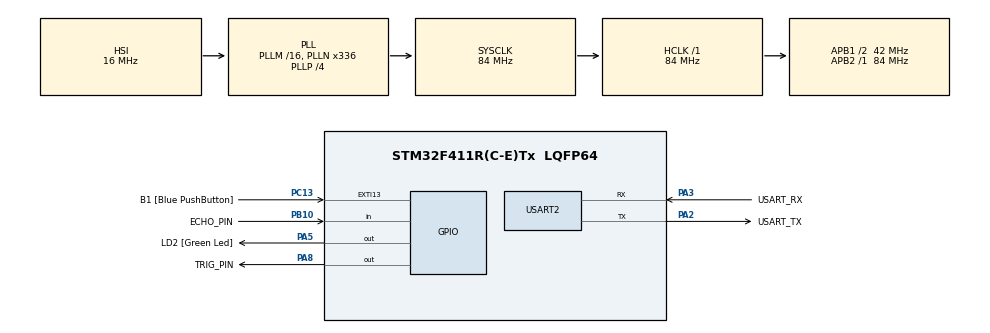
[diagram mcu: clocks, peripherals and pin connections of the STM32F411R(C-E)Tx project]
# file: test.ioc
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Mcu.Family=STM32F4
Mcu.Name=STM32F411R(C-E)Tx
Mcu.Package=LQFP64
NVIC.PriorityGroup=NVIC_PRIORITYGROUP_0
PA13.GPIO_Label=TMS
PA13.Mode=Serial_Wire
PA13.Signal=SYS_JTMS-SWDIO
PA14.GPIO_Label=TCK
PA14.Mode=Serial_Wire
PA14.Signal=SYS_JTCK-SWCLK
PA2.GPIO_Label=USART_TX
PA2.Mode=Asynchronous
PA2.Signal=USART2_TX
PA3.GPIO_Label=USART_RX
PA3.Mode=Asynchronous
PA3.Signal=USART2_RX
PA5.GPIO_Label=LD2 [Green Led]
PA5.Signal=GPIO_Output
PA8.GPIO_Label=TRIG_PIN
PA8.Signal=GPIO_Output
PB10.GPIO_Label=ECHO_PIN
PB10.Signal=GPIO_Input
PB3.GPIO_Label=SWO
PB3.Signal=SYS_JTDO-SWO
PC13-ANTI_TAMP.GPIO_Label=B1 [Blue PushButton]
PC13-ANTI_TAMP.GPIO_ModeDefaultEXTI=GPIO_MODE_IT_FALLING
PC13-ANTI_TAMP.Signal=GPXTI13
PC14-OSC32_IN.Mode=LSE-External-Oscillator
PC14-OSC32_IN.Signal=RCC_OSC32_IN
PC15-OSC32_OUT.Mode=LSE-External-Oscillator
PC15-OSC32_OUT.Signal=RCC_OSC32_OUT
PH0\ -\ OSC_IN.Mode=HSE-External-Clock-Source
PH0\ -\ OSC_IN.Signal=RCC_OSC_IN
PH1\ -\ OSC_OUT.Mode=HSE-External-Clock-Source
PH1\ -\ OSC_OUT.Signal=RCC_OSC_OUT
ProjectManager.HeapSize=0x200
ProjectManager.StackSize=0x400
ProjectManager.TargetToolchain=STM32CubeIDE
RCC.48MHZClocksFreq_Value=84000000
RCC.AHBFreq_Value=84000000
RCC.APB1CLKDivider=RCC_HCLK_DIV2
RCC.APB1Freq_Value=42000000
RCC.APB1TimFreq_Value=84000000
RCC.APB2Freq_Value=84000000
RCC.APB2TimFreq_Value=84000000
RCC.CortexFreq_Value=84000000
RCC.FLatency-AdvancedSettings=FLASH_LATENCY_2
RCC.HCLKFreq_Value=84000000
RCC.HSE_VALUE=8000000
RCC.HSI_VALUE=16000000
RCC.PLLN=336
RCC.PLLP=RCC_PLLP_DIV4
RCC.SYSCLKFreq_VALUE=84000000
RCC.SYSCLKSource=RCC_SYSCLKSOURCE_PLLCLK
RCC.VCOOutputFreq_Value=336000000
TIM2.AutoReloadPreload=TIM_AUTORELOAD_PRELOAD_ENABLE
TIM2.Prescaler=83
USART2.VirtualMode=VM_ASYNC
VP_TIM2_VS_ClockSourceINT.Mode=Internal
board=NUCLEO-F411RE

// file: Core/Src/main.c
/* USER CODE BEGIN Header */
/**
  ******************************************************************************
  * @file           : main.c
  * @brief          : Main program body
  ******************************************************************************
  * @attention
  *
  * Copyright (c) 2025 STMicroelectronics.
  * All rights reserved.
  *
  * This software is licensed under terms that can be found in the LICENSE file
  * in the root directory of this software component.
  * If no LICENSE file comes with this software, it is provided AS-IS.
  *
  ******************************************************************************
  */
/* USER CODE END Header */
#include "main.h"

TIM_HandleTypeDef htim2;

UART_HandleTypeDef huart2;

/* USER CODE BEGIN PV */
uint32_t inputCaptureVal1 = 0;
uint32_t inputCaptureVal2 = 0;
uint32_t difference = 0;
uint8_t isFirstCaptured = 0;  // 0 = capturing first edge, 1 = capturing second
uint32_t distance = 0;

char msg[64]; // <--- Add this line (Buffer for UART message)
/* USER CODE END PV */

void SystemClock_Config(void);
static void MX_GPIO_Init(void);
static void MX_USART2_UART_Init(void);
static void MX_TIM2_Init(void);

/* USER CODE BEGIN 0 */
void delay_us (uint16_t us)
{
	__HAL_TIM_SET_COUNTER(&htim2,0);  // Reset the counter to 0
	while (__HAL_TIM_GET_COUNTER(&htim2) < us);  // Wait until counter reaches the requested delay
}
/* USER CODE END 0 */

int main(void)
{

  /* MCU Configuration--------------------------------------------------------*/

  /* Reset of all peripherals, Initializes the Flash interface and the Systick. */
  HAL_Init();

  /* Configure the system clock */
  SystemClock_Config();

  /* Initialize all configured peripherals */
  MX_GPIO_Init();
  MX_USART2_UART_Init();
  MX_TIM2_Init();
  /* USER CODE BEGIN 2 */
  HAL_TIM_Base_Start(&htim2); // Start our microsecond ruler
  /* USER CODE END 2 */

  /* Infinite loop */
  while (1)
  {

    /* USER CODE BEGIN 3 */

	      // 1. Reset TRIG pin low to ensure clean start
	      HAL_GPIO_WritePin(TRIG_PIN_GPIO_Port, TRIG_PIN_Pin, GPIO_PIN_RESET);
	      delay_us(3);

	      // 2. Send the Pulse (10us High)
	      HAL_GPIO_WritePin(TRIG_PIN_GPIO_Port, TRIG_PIN_Pin, GPIO_PIN_SET);
	      delay_us(10);
	      HAL_GPIO_WritePin(TRIG_PIN_GPIO_Port, TRIG_PIN_Pin, GPIO_PIN_RESET);

	      // 3. Wait for the ECHO pin to go HIGH (Start of response)
	      // Note: In a real product, add a timeout here so code doesn't hang if sensor is broken
	      while (HAL_GPIO_ReadPin(ECHO_PIN_GPIO_Port, ECHO_PIN_Pin) == GPIO_PIN_RESET);

	      // 4. Measure the time!
	      // We set counter to 0 at the moment ECHO goes HIGH
	      __HAL_TIM_SET_COUNTER(&htim2, 0);

	      // 5. Wait for the ECHO pin to go LOW (End of response)
	      while (HAL_GPIO_ReadPin(ECHO_PIN_GPIO_Port, ECHO_PIN_Pin) == GPIO_PIN_SET);

	      // 6. Get the time passed
	      difference = __HAL_TIM_GET_COUNTER(&htim2);

	      // 7. Calculate Distance
	      // Speed of sound is 343 m/s or 0.0343 cm/us.
	      // Distance = (Time * Speed) / 2 (because sound goes there and back)
	      distance = (difference * 0.0343) / 2;

	      // Format the string. %lu is for unsigned long (uint32_t)
		  // \r\n moves the cursor to the start of the next line
		  sprintf(msg, "Distance: %lu cm\r\n", distance);

		  // Send via UART2
		  // &huart2 : The UART handler
		  // (uint8_t*)msg : The data to send
		  // strlen(msg) : The length of the data
		  // 100 : Timeout in milliseconds
		  HAL_UART_Transmit(&huart2, (uint8_t*)msg, strlen(msg), 100);

		  // --- NEW CODE ENDS HERE ---

		  HAL_Delay(500); // Increased delay to 500ms so the screen isn't flooded too fast
		}
  /* USER CODE END 3 */
}

void SystemClock_Config(void)
{
  RCC_OscInitTypeDef RCC_OscInitStruct = {0};
  RCC_ClkInitTypeDef RCC_ClkInitStruct = {0};

  /** Configure the main internal regulator output voltage
  */
  __HAL_RCC_PWR_CLK_ENABLE();
  __HAL_PWR_VOLTAGESCALING_CONFIG(PWR_REGULATOR_VOLTAGE_SCALE1);

  /** Initializes the RCC Oscillators according to the specified parameters
  * in the RCC_OscInitTypeDef structure.
  */
  RCC_OscInitStruct.OscillatorType = RCC_OSCILLATORTYPE_HSI;
  RCC_OscInitStruct.HSIState = RCC_HSI_ON;
  RCC_OscInitStruct.HSICalibrationValue = RCC_HSICALIBRATION_DEFAULT;
  RCC_OscInitStruct.PLL.PLLState = RCC_PLL_ON;
  RCC_OscInitStruct.PLL.PLLSource = RCC_PLLSOURCE_HSI;
  RCC_OscInitStruct.PLL.PLLM = 16;
  RCC_OscInitStruct.PLL.PLLN = 336;
  RCC_OscInitStruct.PLL.PLLP = RCC_PLLP_DIV4;
  RCC_OscInitStruct.PLL.PLLQ = 4;
  if (HAL_RCC_OscConfig(&RCC_OscInitStruct) != HAL_OK)
  {
    Error_Handler();
  }

  /** Initializes the CPU, AHB and APB buses clocks
  */
  RCC_ClkInitStruct.ClockType = RCC_CLOCKTYPE_HCLK|RCC_CLOCKTYPE_SYSCLK
                              |RCC_CLOCKTYPE_PCLK1|RCC_CLOCKTYPE_PCLK2;
  RCC_ClkInitStruct.SYSCLKSource = RCC_SYSCLKSOURCE_PLLCLK;
  RCC_ClkInitStruct.AHBCLKDivider = RCC_SYSCLK_DIV1;
  RCC_ClkInitStruct.APB1CLKDivider = RCC_HCLK_DIV2;
  RCC_ClkInitStruct.APB2CLKDivider = RCC_HCLK_DIV1;

  if (HAL_RCC_ClockConfig(&RCC_ClkInitStruct, FLASH_LATENCY_2) != HAL_OK)
  {
    Error_Handler();
  }
}

static void MX_TIM2_Init(void)
{

  TIM_ClockConfigTypeDef sClockSourceConfig = {0};
  TIM_MasterConfigTypeDef sMasterConfig = {0};

  htim2.Instance = TIM2;
  htim2.Init.Prescaler = 83;
  htim2.Init.CounterMode = TIM_COUNTERMODE_UP;
  htim2.Init.Period = 4294967295;
  htim2.Init.ClockDivision = TIM_CLOCKDIVISION_DIV1;
  htim2.Init.AutoReloadPreload = TIM_AUTORELOAD_PRELOAD_ENABLE;
  if (HAL_TIM_Base_Init(&htim2) != HAL_OK)
  {
    Error_Handler();
  }
  sClockSourceConfig.ClockSource = TIM_CLOCKSOURCE_INTERNAL;
  if (HAL_TIM_ConfigClockSource(&htim2, &sClockSourceConfig) != HAL_OK)
  {
    Error_Handler();
  }
  sMasterConfig.MasterOutputTrigger = TIM_TRGO_RESET;
  sMasterConfig.MasterSlaveMode = TIM_MASTERSLAVEMODE_DISABLE;
  if (HAL_TIMEx_MasterConfigSynchronization(&htim2, &sMasterConfig) != HAL_OK)
  {
    Error_Handler();
  }

}

static void MX_USART2_UART_Init(void)
{

  huart2.Instance = USART2;
  huart2.Init.BaudRate = 115200;
  huart2.Init.WordLength = UART_WORDLENGTH_8B;
  huart2.Init.StopBits = UART_STOPBITS_1;
  huart2.Init.Parity = UART_PARITY_NONE;
  huart2.Init.Mode = UART_MODE_TX_RX;
  huart2.Init.HwFlowCtl = UART_HWCONTROL_NONE;
  huart2.Init.OverSampling = UART_OVERSAMPLING_16;
  if (HAL_UART_Init(&huart2) != HAL_OK)
  {
    Error_Handler();
  }

}

static void MX_GPIO_Init(void)
{
  GPIO_InitTypeDef GPIO_InitStruct = {0};

  /* GPIO Ports Clock Enable */
  __HAL_RCC_GPIOC_CLK_ENABLE();
  __HAL_RCC_GPIOH_CLK_ENABLE();
  __HAL_RCC_GPIOA_CLK_ENABLE();
  __HAL_RCC_GPIOB_CLK_ENABLE();

  /*Configure GPIO pin Output Level */
  HAL_GPIO_WritePin(GPIOA, LD2_Pin|TRIG_PIN_Pin, GPIO_PIN_RESET);

  /*Configure GPIO pin : B1_Pin */
  GPIO_InitStruct.Pin = B1_Pin;
  GPIO_InitStruct.Mode = GPIO_MODE_IT_FALLING;
  GPIO_InitStruct.Pull = GPIO_NOPULL;
  HAL_GPIO_Init(B1_GPIO_Port, &GPIO_InitStruct);

  /*Configure GPIO pins : LD2_Pin TRIG_PIN_Pin */
  GPIO_InitStruct.Pin = LD2_Pin|TRIG_PIN_Pin;
  GPIO_InitStruct.Mode = GPIO_MODE_OUTPUT_PP;
  GPIO_InitStruct.Pull = GPIO_NOPULL;
  GPIO_InitStruct.Speed = GPIO_SPEED_FREQ_LOW;
  HAL_GPIO_Init(GPIOA, &GPIO_InitStruct);

  /*Configure GPIO pin : ECHO_PIN_Pin */
  GPIO_InitStruct.Pin = ECHO_PIN_Pin;
  GPIO_InitStruct.Mode = GPIO_MODE_INPUT;
  GPIO_InitStruct.Pull = GPIO_NOPULL;
  HAL_GPIO_Init(ECHO_PIN_GPIO_Port, &GPIO_InitStruct);

}

void Error_Handler(void)
{
  __disable_irq();
  while (1)
  {
  }
}
